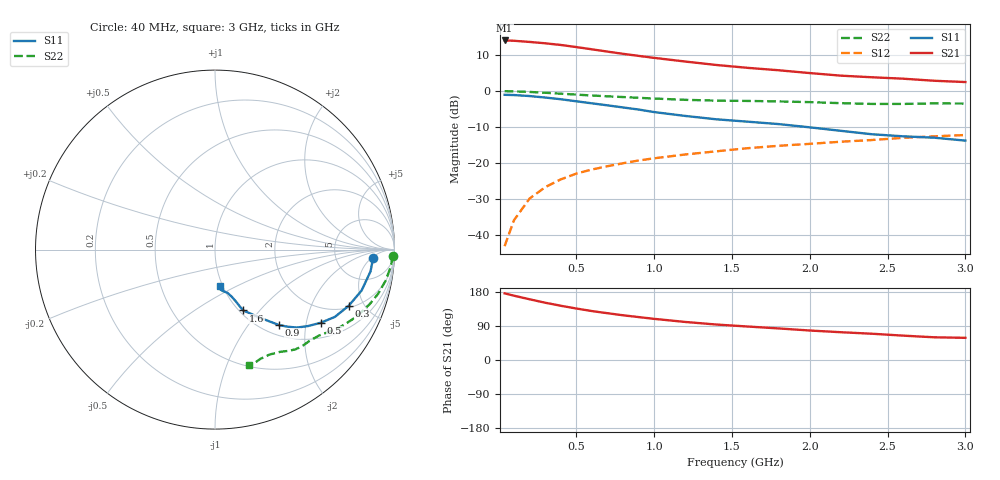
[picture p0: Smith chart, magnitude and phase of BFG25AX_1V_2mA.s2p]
! Filename:  BFG25AXE.S2P  Version:  2.0
! Philips part #: BFG25A/X  Date: May 1990
! Bias condition: Vce=1V, Ic=2mA
#  MHz  S  MA  R  50
! Freq  S11  S21  S12  S22  !GUM [dB]
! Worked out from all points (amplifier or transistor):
!   21 points, 40 MHz to 3 GHz, reference 50 ohm
!   highest |S21| = 14.0 dB at 40 MHz (marker M1)
!   |S21| within 3 dB of that: start of sweep to 685.8 MHz
!   unconditionally stable (mu >= 1): 2.215 GHz to 2.749 GHz; 2.851 GHz to end of sweep
!   at 300 MHz: K = 0.26, MSG = 20.0 dB, |S12| = -26.7 dB
!   at 1 GHz: K = 0.68, MSG = 13.9 dB, |S12| = -18.7 dB
!   at 3 GHz: K = 1.01, MAG = 6.8 dB, |S12| = -12.3 dB
!   lowest NFmin = 2.30 dB at 500 MHz
!   S11 on the Smith chart (normalised r, x): 40 MHz: 13, -6; 300 MHz: 2.13, -3.84; 500 MHz: 1.46, -2.44; 900 MHz: 1.18, -1.42; 1.6 GHz: 1.04, -0.82; 3 GHz: 0.97, -0.41
40  0.882 -3.2  5.006 175.8  0.007 85.1  0.99 -2.1
100  0.875 -8.0  4.956 169.7  0.016 84.6  0.985 -5.3
200  0.848 -15.6  4.776 160.3  0.032 79.5  0.966 -10.4
300  0.808 -22.8  4.574 151.2  0.046 76.2  0.942 -15.1
400  0.766 -29.3  4.337 143.2  0.059 72.4  0.914 -19.4
500  0.717 -34.6  4.054 135.9  0.071 69.5  0.887 -23.1
600  0.672 -39.3  3.775 129.2  0.081 67.4  0.863 -26.4
700  0.63 -43.6  3.507 123.5  0.09 65.7  0.841 -29.1
800  0.589 -46.8  3.267 118.0  0.099 64.4  0.821 -31.6
900  0.551 -49.7  3.058 113.3  0.108 63.0  0.801 -33.8
1000  0.508 -52.4  2.872 108.6  0.116 61.6  0.783 -35.8
1200  0.449 -57.1  2.553 100.4  0.131 59.2  0.751 -39.7
1400  0.403 -61.5  2.287 93.6  0.145 58.2  0.732 -44.0
1600  0.374 -65.1  2.088 88.4  0.16 56.6  0.725 -47.9
1800  0.346 -66.4  1.932 83.3  0.173 55.3  0.714 -51.1
2000  0.312 -68.0  1.766 77.8  0.184 53.4  0.698 -53.9
2200  0.279 -70.4  1.626 73.3  0.197 52.0  0.675 -57.6
2400  0.25 -74.0  1.544 69.3  0.208 49.9  0.659 -62.6
2600  0.234 -79.6  1.476 64.3  0.223 47.5  0.659 -67.4
2800  0.224 -82.5  1.381 59.9  0.234 46.6  0.67 -71.0
3000  0.204 -82.1  1.325 58.5  0.244 46.1  0.667 -73.7
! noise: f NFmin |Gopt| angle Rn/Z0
500  2.3  0.77  5  2.1
1000  2.4  0.72  14  2.2
2000  2.9  0.63  37  1.7
